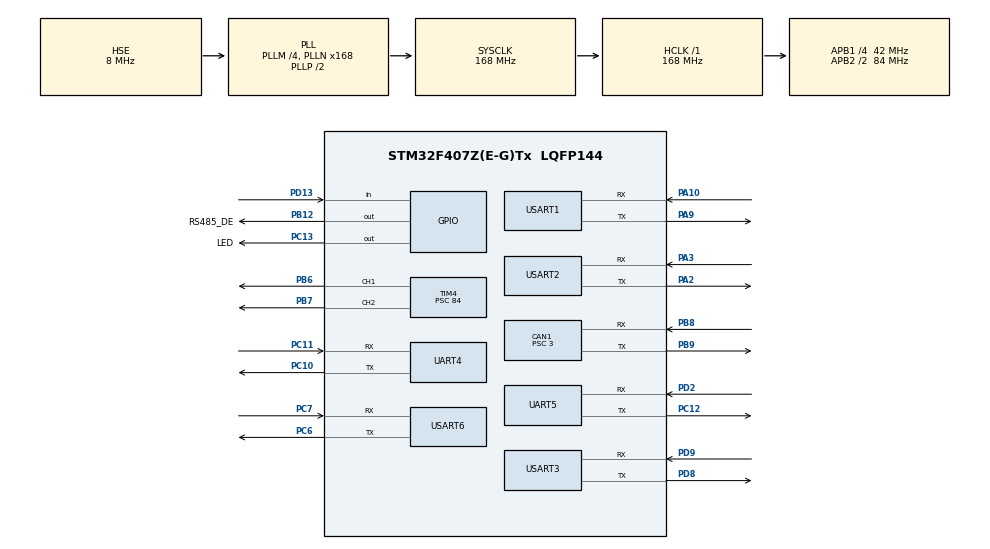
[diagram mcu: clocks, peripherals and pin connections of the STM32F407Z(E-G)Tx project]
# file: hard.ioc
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CAN1.BS1=CAN_BS1_9TQ
CAN1.BS2=CAN_BS2_4TQ
CAN1.CalculateBaudRate=1000000
CAN1.CalculateTimeBit=1000
CAN1.CalculateTimeQuantum=71.42857142857143
CAN1.Prescaler=3
FREERTOS.Tasks01=TaskMotorTx,32,512,MotorTx,Default,NULL,Dynamic,NULL,NULL;TaskMotorRx,33,512,MotorRx,Default,NULL,Dynamic,NULL,NULL;Task,34,768,StartTask,Default,NULL,Dynamic,NULL,NULL;SeeTask,33,512,See,Default,NULL,Dynamic,NULL,NULL;Hwt601Task,32,512,Hwt601Poll,Default,NULL,Dynamic,NULL,NULL;TaskMotorA,32,512,MotorA,Default,NULL,Dynamic,NULL,NULL;TaskMotorB,32,512,MotorB,Default,NULL,Dynamic,NULL,NULL;TaskMotorC,32,512,MotorC,Default,NULL,Dynamic,NULL,NULL;Task6020,40,512,Motor6020,Default,NULL,Dynamic,NULL,NULL
FREERTOS.configTOTAL_HEAP_SIZE=32768 
Mcu.Family=STM32F4
Mcu.Name=STM32F407Z(E-G)Tx
Mcu.Package=LQFP144
NVIC.CAN1_RX0_IRQn=true\:5\:0\:false\:false\:true\:true\:true\:true\:true
NVIC.PriorityGroup=NVIC_PRIORITYGROUP_4
NVIC.TIM1_UP_TIM10_IRQn=true\:15\:0\:false\:false\:true\:false\:false\:true\:true
NVIC.TimeBase=TIM1_UP_TIM10_IRQn
NVIC.TimeBaseIP=TIM1
NVIC.UART4_IRQn=true\:5\:0\:false\:false\:true\:true\:true\:true\:true
NVIC.UART5_IRQn=true\:5\:0\:false\:false\:true\:true\:true\:true\:true
NVIC.USART1_IRQn=true\:5\:0\:false\:false\:true\:true\:true\:true\:true
NVIC.USART2_IRQn=true\:5\:0\:false\:false\:true\:true\:true\:true\:true
NVIC.USART3_IRQn=true\:5\:0\:false\:false\:true\:true\:true\:true\:true
NVIC.USART6_IRQn=true\:5\:0\:false\:false\:true\:true\:true\:true\:true
PA10.Mode=Asynchronous
PA10.Signal=USART1_RX
PA13.Mode=Serial_Wire
PA13.Signal=SYS_JTMS-SWDIO
PA14.Mode=Serial_Wire
PA14.Signal=SYS_JTCK-SWCLK
PA2.Mode=Asynchronous
PA2.Signal=USART2_TX
PA3.Mode=Asynchronous
PA3.Signal=USART2_RX
PA9.Mode=Asynchronous
PA9.Signal=USART1_TX
PB12.GPIO_Label=RS485_DE
PB12.GPIO_PuPd=GPIO_PULLDOWN
PB12.Signal=GPIO_Output
PB6.Signal=S_TIM4_CH1
PB7.Signal=S_TIM4_CH2
PB8.Mode=CAN_Activate
PB8.Signal=CAN1_RX
PB9.Mode=CAN_Activate
PB9.Signal=CAN1_TX
PC10.Mode=Asynchronous
PC10.Signal=UART4_TX
PC11.Mode=Asynchronous
PC11.Signal=UART4_RX
PC12.Mode=Asynchronous
PC12.Signal=UART5_TX
PC13-ANTI_TAMP.GPIO_Label=LED
PC13-ANTI_TAMP.GPIO_PuPd=GPIO_PULLUP
PC13-ANTI_TAMP.Signal=GPIO_Output
PC6.Mode=Asynchronous
PC6.Signal=USART6_TX
PC7.Mode=Asynchronous
PC7.Signal=USART6_RX
PD13.GPIO_PuPd=GPIO_PULLUP
PD13.Signal=GPIO_Input
PD2.Mode=Asynchronous
PD2.Signal=UART5_RX
PD8.Mode=Asynchronous
PD8.Signal=USART3_TX
PD9.GPIO_PuPd=GPIO_NOPULL
PD9.Mode=Asynchronous
PD9.Signal=USART3_RX
PH0-OSC_IN.Mode=HSE-External-Oscillator
PH0-OSC_IN.Signal=RCC_OSC_IN
PH1-OSC_OUT.Mode=HSE-External-Oscillator
PH1-OSC_OUT.Signal=RCC_OSC_OUT
ProjectManager.HeapSize=0x1000
ProjectManager.StackSize=0x1000
ProjectManager.TargetToolchain=MDK-ARM V5.32
RCC.48MHZClocksFreq_Value=48000000
RCC.AHBFreq_Value=168000000
RCC.APB1CLKDivider=RCC_HCLK_DIV4
RCC.APB1Freq_Value=42000000
RCC.APB1TimFreq_Value=84000000
RCC.APB2CLKDivider=RCC_HCLK_DIV2
RCC.APB2Freq_Value=84000000
RCC.APB2TimFreq_Value=168000000
RCC.CortexFreq_Value=168000000
RCC.HCLKFreq_Value=168000000
RCC.HSE_VALUE=8000000
RCC.HSI_VALUE=16000000
RCC.LSE_VALUE=32768
RCC.PLLM=4
RCC.PLLN=168
RCC.PLLQ=7
RCC.PLLSourceVirtual=RCC_PLLSOURCE_HSE
RCC.SYSCLKFreq_VALUE=168000000
RCC.SYSCLKSource=RCC_SYSCLKSOURCE_PLLCLK
RCC.VCOOutputFreq_Value=336000000
SH.S_TIM4_CH1.0=TIM4_CH1,PWM Generation1 CH1
SH.S_TIM4_CH2.0=TIM4_CH2,PWM Generation2 CH2
TIM4.AutoReloadPreload=TIM_AUTORELOAD_PRELOAD_ENABLE
TIM4.Channel-PWM\ Generation1\ CH1=TIM_CHANNEL_1
TIM4.Channel-PWM\ Generation2\ CH2=TIM_CHANNEL_2
TIM4.Period=20000
TIM4.Prescaler=84
UART4.VirtualMode=Asynchronous
UART5.VirtualMode=Asynchronous
USART1.VirtualMode=VM_ASYNC
USART2.VirtualMode=VM_ASYNC
USART3.VirtualMode=VM_ASYNC
USART6.VirtualMode=VM_ASYNC
VP_FREERTOS_VS_CMSIS_V2.Mode=CMSIS_V2
VP_SYS_VS_tim1.Mode=TIM1
VP_TIM4_VS_ClockSourceINT.Mode=Internal
board=custom

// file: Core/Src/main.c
/* USER CODE BEGIN Header */
/* main.c —— 应用入口：外设初始化（CAN1、UART4/5、USART1/2/3/6、TIM4）+ 启动 FreeRTOS。 */
/* USER CODE END Header */
#include "main.h"
#include "cmsis_os.h"
#include "can.h"
#include "tim.h"
#include "usart.h"
#include "gpio.h"

/* USER CODE BEGIN Includes */
#include "zdt_motor.h"
#include "hwt601.h"
#include "stdio.h"
#include "pwm.h"
/* USER CODE END Includes */

/* USER CODE BEGIN PV */

/* ★ 临时测试开关：1 = 检测到 PD13 低电平后只闪 PC13（不往下跑）；0 = 正常运行。
 *   用 volatile 是为了避免 armcc 对下面死循环后的代码报 unreachable 警告。*/
static volatile int s_blink_test = 1;

/* USER CODE END PV */

void SystemClock_Config(void);
void MX_FREERTOS_Init(void);

int main(void)
{

  /* MCU Configuration--------------------------------------------------------*/

  /* Reset of all peripherals, Initializes the Flash interface and the Systick. */
  HAL_Init();

  /* Configure the system clock */
  SystemClock_Config();

  /* Initialize all configured peripherals */
  MX_GPIO_Init();
  MX_CAN1_Init();
  MX_UART4_Init();
  MX_UART5_Init();
  MX_USART1_UART_Init();
  MX_USART2_UART_Init();
  MX_USART3_UART_Init();
  MX_USART6_UART_Init();
  MX_TIM4_Init();
  /* USER CODE BEGIN 2 */
  ZDT_MotorInit();          /* ⚠ 必须调：绑定三条串口并挂单字节中断接收，否则 g_bus[] 里的 huart 是 NULL，发命令跑飞 */
  HWT601_Init();            /* 陀螺仪 USART6（PC6/PC7）：中断收帧；发请求在 Hwt601Poll 任务里 */

  /* 6020 = 地址 1：反馈 StdId 0x205，控制帧是 0x1FF 的槽 1 = DATA[0..1]（6020.c / grab_cfg.h 已写死）。 */
  /* USER CODE END 2 */

  /* Init scheduler */
  osKernelInitialize();  /* Call init function for freertos objects (in cmsis_os2.c) */
  MX_FREERTOS_Init();

  /* Start scheduler */
  osKernelStart();

  /* We should never get here as control is now taken by the scheduler */

  /* Infinite loop */
  while (1)
  {

  }
}

void SystemClock_Config(void)
{
  RCC_OscInitTypeDef RCC_OscInitStruct = {0};
  RCC_ClkInitTypeDef RCC_ClkInitStruct = {0};

  /** Configure the main internal regulator output voltage
  */
  __HAL_RCC_PWR_CLK_ENABLE();
  __HAL_PWR_VOLTAGESCALING_CONFIG(PWR_REGULATOR_VOLTAGE_SCALE1);

  /** Initializes the RCC Oscillators according to the specified parameters
  * in the RCC_OscInitTypeDef structure.
  */
  RCC_OscInitStruct.OscillatorType = RCC_OSCILLATORTYPE_HSE;
  RCC_OscInitStruct.HSEState = RCC_HSE_ON;
  RCC_OscInitStruct.PLL.PLLState = RCC_PLL_ON;
  RCC_OscInitStruct.PLL.PLLSource = RCC_PLLSOURCE_HSE;
  RCC_OscInitStruct.PLL.PLLM = 4;
  RCC_OscInitStruct.PLL.PLLN = 168;
  RCC_OscInitStruct.PLL.PLLP = RCC_PLLP_DIV2;
  RCC_OscInitStruct.PLL.PLLQ = 7;
  if (HAL_RCC_OscConfig(&RCC_OscInitStruct) != HAL_OK)
  {
    Error_Handler();
  }

  /** Initializes the CPU, AHB and APB buses clocks
  */
  RCC_ClkInitStruct.ClockType = RCC_CLOCKTYPE_HCLK|RCC_CLOCKTYPE_SYSCLK
                              |RCC_CLOCKTYPE_PCLK1|RCC_CLOCKTYPE_PCLK2;
  RCC_ClkInitStruct.SYSCLKSource = RCC_SYSCLKSOURCE_PLLCLK;
  RCC_ClkInitStruct.AHBCLKDivider = RCC_SYSCLK_DIV1;
  RCC_ClkInitStruct.APB1CLKDivider = RCC_HCLK_DIV4;
  RCC_ClkInitStruct.APB2CLKDivider = RCC_HCLK_DIV2;

  if (HAL_RCC_ClockConfig(&RCC_ClkInitStruct, FLASH_LATENCY_5) != HAL_OK)
  {
    Error_Handler();
  }
}

void HAL_TIM_PeriodElapsedCallback(TIM_HandleTypeDef *htim)
{
  if (htim->Instance == TIM1)
  {
    HAL_IncTick();
  }
}

void Error_Handler(void)
{
  __disable_irq();
  while (1)
  {
  }
}

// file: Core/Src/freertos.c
/* USER CODE BEGIN Header */
/* freertos.c —— FreeRTOS 任务层：创建 9 个任务，负责底盘 20ms 控制拍、遥测与总线门控。 */
/* USER CODE END Header */

#include "FreeRTOS.h"
#include "task.h"
#include "main.h"
#include "cmsis_os.h"

/* USER CODE BEGIN Includes */
#include "zdt_motor.h"
#include "hwt601.h"
#include "ins.h"
#include "Go.h"
#include "pid.h"
#include "TaskFlow.h"                      /* 顶层任务流程 */
#include "chassis_cfg.h"
#include "grab.h"                          /* 抓取层 */
#include "6020.h"                          /* GM6020 驱动 */
#include "grab_cfg.h"                      /* M6020_CMD_MAX：判输出打满 */
#include "M27.h"                           /* 伸缩 FB / 升降 UD */
#include <stdio.h>
#include <stdlib.h>                        /* atof：串口调参 */
#include "See.h"
#include "pwm.h"
#include "Follow.h"                        /* 路径规划：Follow_SideInit + Follow_RxByte */
#include "../../Test/Go_Test/go_test.h"    /* 台架：Go_Test_Route（GO_TEST_FOLLOWSEQ） */
extern UART_HandleTypeDef huart1;   /* 调试打印口 */
/* USER CODE END Includes */

/* USER CODE BEGIN PD */
/* 速度帧的加减速档直接写 0：不做曲线加减速，直接按设定速度跑（0~255，越大起步越猛）；单轮上限 GO_WHEEL_RPM_MAX 见 chassis_cfg.h。 */

/* 出发边：0 = 左出发（跟踪轴 = 任务 Y），1 = 右出发（跟踪轴 = 任务 X）。改错 ⇒ 整条路线镜像走反。 */
#define follow_side_key     1
const uint8_t g_follow_side_key = (uint8_t)follow_side_key;

/* 1 = 正常走 case 6（对 7/9 做 PD 对准并记录实测值）；0 = 跳过 7/9 的对准。 */
#define case6_key           1
const uint8_t g_case6_key = (uint8_t)case6_key;

/* 是否在第二次的第二轮进行对准 */
#define case11_key          0
const uint8_t g_case11_key = (uint8_t)case11_key;

/* 3(浅蓝)/6(深蓝) 相机分不稳：1 = 扫码时两者没同时出现就视为同一颜色；0 = 永远严格区分。 */
#define blue_merge_key      1
const uint8_t g_blue_merge_key = (uint8_t)blue_merge_key;

/* 放料盘高度 cm（实测值，初始 8）。抓取时 UD 的目标高度 = 5.15 - (high - 8)：
 *   盘高 8 ⇒ 5.15（当前基准值）；盘高 9 ⇒ 4.15。Grab.c case 3-0 那两句 MoveCm 的 ud_cm 用。*/
#define high                8.25f
const float   g_high = (float)high;

/* 5s 周期行的总闸：1 = 每 5s 打一遍三块料的抓取判定 6 帧颜色（例 …|000000|000000|000000）；三块都抓完（s_log_done）后自动停，不打扰抓取阶段的日志。 */
#define TELEM_PERIODIC_EN   1
/* 详细诊断行总开关（2026-10-31 改）：0 = 串口**只打两行** Q,<已锁定>,<料1>,<料2>,<料3>,<环1>,<环2>,<环3> C,7算6020,7算M2,7实测6020,7实测M2,
 * 8算…,8实测…, 9算…,9实测… 1 = 恢复原来的 Z/K/S/P 四行 +
 * 每 5s 的标定/颜色汇总行。 */
#define TELEM_VERBOSE_EN    0

/* 台架开关：1 = 上电发 0-1 之后**只跑** Go_Test_FollowSeq()（Follow_Set 里灌的三条模拟路线）， 跑完原地停住；TaskFlow / 手臂一律不参与。测完改回 0 就是正常比赛流程。
 * 打开时请把车架空或留足场地：三条路线是 1/3/13/23 号格之间的真实跑位。 */
#define GO_TEST_FOLLOWSEQ   0

/* 单独测试抓取：1 = 跳过前段（case -1 的路线/扫码/去 15 号格、case 0 的任务2），
 * 直接进 case 1「巡逻 → 跟踪 → 抓取」，三块抓完就停下（底盘进 case 10 GO_Stop、手臂摆收工位待命）。
 * ⚠ 颜色目标要自己灌：把下面正常分支里那行注释掉的 Set(...) 取消注释并填三块颜色 + 三个环号，
 *   否则 qr_c0[0] = 0 ⇒ 手臂永远扫不到料（case 0 会打印 cam_target_id = 0）。
 * ⚠ 只在 GO_TEST_FOLLOWSEQ = 0（正常分支）里生效。 0 = 正常全流程。*/
#define grab0               0
const uint8_t g_grab0 = (uint8_t)grab0;

/* 接线体检：1 = 每秒打 T,ANG / T,AGE / T,LIVE 三行，专门查断线、没应答、CAN/串口不通。
 *   T,ANG  = 6 个步进电机的多圈角度 + 6020 关节角 + 陀螺仪 yaw
 *   T,AGE  = 6 个步进电机"距上次应答多少 ms"（一直涨 = 那根线/地址有问题）
 *   T,LIVE = 6020 累计反馈帧数（不涨 = CAN 线/ID）+ 陀螺仪收到过好帧(0/1)
 * 调试用，正常比赛保持 0。*/
#define test                0

/* 基准判定总开关：1 = 完整判定（M2<10：定基准即抓；M2≥10：记历次最小值，退回来 2cm 才抓）；
 * 0 = 直接抓（基准恒 0、进度置"已定" ⇒ 判停成立就抓）。改动需重编译。*/
#define base_en             0
const uint8_t g_base_en = (uint8_t)base_en;

/* USER CODE END PD */

/* USER CODE BEGIN Variables */
/* 4 轮目标转速 rpm[4]：MotorTx 写、MotorA/B 读；正 = 该轮朝前进方向转（WHEEL_DIR 校正后的符号）。 轮序 0..3 = 右后(轴1,总线A) / 左前(轴6,总线B) / 右前(轴3,总线B) / 左后(轴4,总线A)。 */
static volatile float s_tgt_rpm[4] = {0.0f};

/* 里程计状态（ins 模块）；位姿全工程只有这一份，Go 借它的指针（GO_Init(&s_ins)）。 */
static InsState_t s_ins;

/* 四轮编码器差分基准（放文件级是为了让 Motion_Home() 能清零；只清电机侧会出假尖峰）。 */
static float s_prev_angle[4] = {0, 0, 0, 0};   /* 上周期角度，差分算 rpm */
static float s_rpm_lp[4]     = {0, 0, 0, 0};   /* rpm 一阶低通（消差分噪声） */

/* wheel[] 下标 → 实际电机轴号（实测接线）：0=轴1右后 / 1=轴6左前 / 2=轴3右前 / 3=轴4左后。 ⚠ 底盘没有轴 2、5、7（轴 2 = 手臂前后、轴 7 = 手臂上下）：取错轴会让 wheel[1] 恒 0，vx/vy 全错。 */
static const uint8_t s_wheel_axis[4] = { 1, 6, 3, 4 };

/* ★ 临时（验证收发用）：1 = 收齐 8 段路线后就停住不跑流程；验证完改 0 就恢复正常。
 * ⚠ 放在 USER CODE 区里：CubeMX 重新生成只保留 USER CODE BEGIN/END 之间的内容。*/
static volatile int s_route_halt = 1;

/* USER CODE END Variables */
/* Definitions for TaskMotorTx */
osThreadId_t TaskMotorTxHandle;
const osThreadAttr_t TaskMotorTx_attributes = {
  .name = "TaskMotorTx",
  .stack_size = 512 * 4,
  .priority = (osPriority_t) osPriorityAboveNormal,
};
/* Definitions for TaskMotorRx */
osThreadId_t TaskMotorRxHandle;
const osThreadAttr_t TaskMotorRx_attributes = {
  .name = "TaskMotorRx",
  .stack_size = 512 * 4,
  .priority = (osPriority_t) osPriorityAboveNormal1,
};
/* Definitions for Task */
osThreadId_t TaskHandle;
const osThreadAttr_t Task_attributes = {
  .name = "Task",
  .stack_size = 768 * 4,
  .priority = (osPriority_t) osPriorityAboveNormal2,
};
/* Definitions for SeeTask */
osThreadId_t SeeTaskHandle;
const osThreadAttr_t SeeTask_attributes = {
  .name = "SeeTask",
  .stack_size = 512 * 4,
  .priority = (osPriority_t) osPriorityAboveNormal1,
};
/* Definitions for Hwt601Task */
osThreadId_t Hwt601TaskHandle;
const osThreadAttr_t Hwt601Task_attributes = {
  .name = "Hwt601Task",
  .stack_size = 512 * 4,
  .priority = (osPriority_t) osPriorityAboveNormal,
};
/* Definitions for TaskMotorA */
osThreadId_t TaskMotorAHandle;
const osThreadAttr_t TaskMotorA_attributes = {
  .name = "TaskMotorA",
  .stack_size = 512 * 4,
  .priority = (osPriority_t) osPriorityAboveNormal,
};
/* Definitions for TaskMotorB */
osThreadId_t TaskMotorBHandle;
const osThreadAttr_t TaskMotorB_attributes = {
  .name = "TaskMotorB",
  .stack_size = 512 * 4,
  .priority = (osPriority_t) osPriorityAboveNormal,
};
/* Definitions for TaskMotorC */
osThreadId_t TaskMotorCHandle;
const osThreadAttr_t TaskMotorC_attributes = {
  .name = "TaskMotorC",
  .stack_size = 512 * 4,
  .priority = (osPriority_t) osPriorityAboveNormal,
};
/* Definitions for Task6020 */
osThreadId_t Task6020Handle;
const osThreadAttr_t Task6020_attributes = {
  .name = "Task6020",
  .stack_size = 512 * 4,
  .priority = (osPriority_t) osPriorityHigh,
};

/* USER CODE BEGIN FunctionPrototypes */

void Motion_PreInit(void);

/* USART1 发送：不用 HAL_UART_Transmit，避免它占住 huart1 的锁，导致 RX 回调里
 *   HAL_UART_Receive_IT 返回 BUSY、接收停掉。只轮询 TXE/TC，不碰中断配置。
 * 定义放在 USER CODE 区里（原来在区外，CubeMX 重新生成时被清掉了）。*/
static void uart1_send(const char *s, uint16_t n)
{
  uint16_t i;
  uint32_t t0 = HAL_GetTick();

  for (i = 0; i < n; i++) {
    while ((huart1.Instance->SR & USART_SR_TXE) == 0) {
      if ((HAL_GetTick() - t0) > 20) return;
    }
    huart1.Instance->DR = (uint8_t)s[i];
  }
  while ((huart1.Instance->SR & USART_SR_TC) == 0) {
    if ((HAL_GetTick() - t0) > 20) return;
  }
}

/* USER CODE END FunctionPrototypes */

void MotorTx(void *argument);
void MotorRx(void *argument);
void StartTask(void *argument);
void See(void *argument);
void Hwt601Poll(void *argument);
void MotorA(void *argument);
void MotorB(void *argument);
void MotorC(void *argument);
void Motor6020(void *argument);

void MX_FREERTOS_Init(void); /* (MISRA C 2004 rule 8.1) */

void MX_FREERTOS_Init(void) {
  /* USER CODE BEGIN Init */
  Motion_PreInit();
  /* USER CODE END Init */

  /* Create the thread(s) */
  /* creation of TaskMotorTx */
  TaskMotorTxHandle = osThreadNew(MotorTx, NULL, &TaskMotorTx_attributes);

  /* creation of TaskMotorRx */
  TaskMotorRxHandle = osThreadNew(MotorRx, NULL, &TaskMotorRx_attributes);

  /* creation of Task */
  TaskHandle = osThreadNew(StartTask, NULL, &Task_attributes);

  /* creation of SeeTask */
  SeeTaskHandle = osThreadNew(See, NULL, &SeeTask_attributes);

  /* creation of Hwt601Task */
  Hwt601TaskHandle = osThreadNew(Hwt601Poll, NULL, &Hwt601Task_attributes);

  /* creation of TaskMotorA */
  TaskMotorAHandle = osThreadNew(MotorA, NULL, &TaskMotorA_attributes);

  /* creation of TaskMotorB */
  TaskMotorBHandle = osThreadNew(MotorB, NULL, &TaskMotorB_attributes);

  /* creation of TaskMotorC */
  TaskMotorCHandle = osThreadNew(MotorC, NULL, &TaskMotorC_attributes);

  /* creation of Task6020 */
  Task6020Handle = osThreadNew(Motor6020, NULL, &Task6020_attributes);

}

void MotorTx(void *argument)
{
  /* USER CODE BEGIN MotorTx */
  /* 底盘控制任务（20ms）：读反馈 → INS 推算 → Go 控制 → 写 s_tgt_rpm[4]；上层 StartTask 通过 GO 投递目标。 本任务不做串口发送：一行 85B 阻塞 ≈7.4ms，占 20ms 周期的 37%，打印全交给 MotorRx。 */
  const TickType_t period_tick = pdMS_TO_TICKS(20);
  TickType_t last_wake = xTaskGetTickCount();
  const float dt = CTRL_DT_S;      /* 控制周期，唯一出处见 chassis_cfg.h */
  /* 兜底上限（正常永远碰不到）：超过 2× 满速的单拍转角只可能是毛刺或驱动器复位。 真正的"上电首帧突变"已由下面的"每轴等真帧再建基准"从源头解决，这里只挡意外。 */
  const float max_step = GO_WHEEL_RPM_MAX * 6.0f * dt * 2.0f;

  static uint8_t s_base_ok[4] = {0};   /* 每轴：差分基准是否已用**真角度**建立 */
  InsInput_t in;
  float rpm_raw[4];                /* 本拍差分 rpm（低通前），用于算平滑后的反馈 */

  /* 装反的轮取反，见 chassis_cfg.h */
  static const float wdir[4] = { WHEEL_DIR0, WHEEL_DIR1, WHEEL_DIR2, WHEEL_DIR3 };

  for(;;)
  {
    int i;

    /* 角度差分 → rpm（一阶低通，α 越小越平滑） ⚠ 基准必须用**真角度**建：多圈角在第一次应答前恒为 0，拿它对 0 求差会造出"0→真值"的巨跳 （几千度 ⇒ 十万 rpm 级 ⇒ 米级假位移）。
     * 所以每轴单独等 ZDT_HasAngle()，第一次拿到真值的 那一拍只建基准、出 0，下一拍才开始差分。 某轴始终不应答 ⇒ 只有那一路恒 0（退化），其余三轮照常、车继续跑。 */
    for (i = 0; i < 4; i++) {
      int ax    = s_wheel_axis[i];
      float   a_now = zdt_angle[ax];

      if (!s_base_ok[i]) {
        if (ZDT_HasAngle(ax)) {
          s_prev_angle[i] = a_now;
          s_base_ok[i]    = 1;
        }
        rpm_raw[i] = 0.0f;
      } else {
        float deg = a_now - s_prev_angle[i];
        if (deg > max_step || deg < -max_step) deg = 0.0f;  /* 毛刺/驱动器复位：弃用本拍，基准照常刷新 */
        rpm_raw[i] = wdir[i] * (deg / dt) / 6.0f;   /* °/s /6 = rpm（未低通） */
        s_prev_angle[i] = a_now;
      }
      s_rpm_lp[i] = 0.35f * rpm_raw[i] + 0.65f * s_rpm_lp[i];
      in.wheel_rpm[i] = s_rpm_lp[i];
    }

    in.imu_yaw   = HWT601_GetYaw();

    INS_Update(&s_ins, &in);

    /* GO：装载投递的目标 + 出四轮转速（状态写都在本任务，单写者） 0-1 之前不跑 GO：否则 Motion_Home 锁的 yaw0 与当前 IMU 有差时，车会在启动前自己转。 */
    float rpm_out[4];
    GO_ControlCycle(rpm_out);

    for (i = 0; i < 4; i++) {
      s_tgt_rpm[i]  = rpm_out[i];
    }

    vTaskDelayUntil(&last_wake, period_tick);
  }
  /* USER CODE END MotorTx */
}

void MotorRx(void *argument)
{
  /* USER CODE BEGIN MotorRx */
  const TickType_t period_tick = pdMS_TO_TICKS(CTRL_DT_MS);
  TickType_t last_wake = xTaskGetTickCount();
  static uint32_t last_chk_t = 0;     /* 抓取判定 6 帧打印：每 5s */
  static int  s_log_done = 0;     /* 1 = 周期行已停发（锁存）*/
  static int  s_log_summary = 0;  /* 1 = 停发前补打一行 5s 总结 */
  for(;;)
  {
    char b[256];
    char cmd[24];
    int  n;

    /* 1) 串口命令 编号-数值（如 1-3）：换行或 50ms 静默结束，回 OK/ERR；编号含义见下面 case。
     * 其余调参项已删，用宏默认值。 */
    if (Grab6020_CmdPoll(cmd, sizeof(cmd))) {
      int idx = 0;
      int p = 0;
      float val;

      while (cmd[p] >= '0' && cmd[p] <= '9') {
        if (idx < 1000) idx = idx * 10 + (cmd[p] - '0');   /* 饱和，避免长数字溢出 */
        p++;
      }
      /* 必须至少有一位前导数字：否则 "-1" 会被解析成"0 号命令 val=1" ⇒ 行驶中被一条杂散行开车/停车 */
      if (p > 0 && idx <= 5 && cmd[p] == '-' &&
          (cmd[p + 1] == '.' || (cmd[p + 1] >= '0' && cmd[p + 1] <= '9'))) {
        val = (float)atof(&cmd[p + 1]);

        switch (idx) {

        case 1:  val = TaskFlow_SetSign(1, val); break;   /* case2 底盘 X */
        case 2:  val = Grab_SetSign(1, val);     break;   /* case2 的 M2  */
        case 3:  val = TaskFlow_SetSign(2, val); break;   /* case5 第一轮底盘 */
        case 4:  val = Grab_SetSign(2, val);     break;   /* case5 的 M2（两轮）*/
        case 5:  val = TaskFlow_SetSign(3, val); break;   /* case5 第二轮底盘 */
        default: break;
        }
        n = snprintf(b, sizeof(b), "OK %d=%.3f\r\n", idx, (double)val);
      } else {
        n = snprintf(b, sizeof(b), "ERR\r\n");
      }
      if (n > (int)sizeof(b) - 1) n = (int)sizeof(b) - 1;
      if (n > 0) uart1_send(b, (uint16_t)n);
    }

    if (grab_log_done != 0) {
      if (!s_log_done) { s_log_done = 1; s_log_summary = 1; }
    } else {
      s_log_done = 0;
    }

    /* 每 1000ms 一行：C,… 标定对照（原来的 Q 行已随 Z 行一起删掉，代码里不再打印）*/
    {
      static uint32_t last_qr_t = 0;

      if ((TELEM_VERBOSE_EN != 0) && ((HAL_GetTick() - last_qr_t) >= 1000)) {          /* Q/C 两行的打印周期（ms）*/
        last_qr_t = HAL_GetTick();

        /* ② 标定对照 C：每环两列 ——「算」= 按 θ/M2₈ 现算的目标，「实测」= 标定 PD 完成时记下的值 ⇒ 两列相减就是几何公式与实际偏了多少；case 6 没跑过时这些列都是 0。 */
        {
          double th  = (double)grab_k6_th;          /* θ = atan(15 / (c+M2₈)) */

          n = snprintf(b, sizeof(b),
                       "C,%.2f,%.2f,%.2f,%.2f,%.2f,%.2f,%.2f,%.2f,%.2f,%.2f,%.2f,%.2f\r\n",
                       90.0 + th + (double)K6_D7_ANG_DEG, (double)Grab_K6M2Of(7),   /* 7 号算（含偏置）*/
                       (double)Grab_CalAng(0), (double)Grab_CalM5(0),      /* 7 号实测 */
                       90.0,                   (double)Grab_CalM5(1),      /* 8 号算 */
                       (double)Grab_CalAng(1), (double)Grab_CalM5(1),      /* 8 号实测 */
                       90.0 - th + (double)K6_D9_ANG_DEG, (double)Grab_K6M2Of(9),   /* 9 号算（含偏置）*/
                       (double)Grab_CalAng(2), (double)Grab_CalM5(2));     /* 9 号实测 */
          if (n > 0 && n < (int)sizeof(b)) uart1_send(b, (uint16_t)n);
        }

        /* 详细诊断三行（K/S/P）：TELEM_VERBOSE_EN=0 时一律不打。 */
        if (TELEM_VERBOSE_EN) {

          /* K,θ,斜边,M2₈记录值,M2当前值 —— 判断"算得对不对 / 反馈有没有上来"： M2₈=0 且 M2 当前=0 ⇒ 编码器/总线没回；M2₈=0 但当前有值 ⇒ 记录那一刻是 0（时序）。 */
          n = snprintf(b, sizeof(b), "K,%.1f,%.2f,%.2f,%.2f\r\n",
                       (double)grab_k6_th, (double)grab_k6_m2,
                       (double)Grab_CalM5(1), (double)cm_2);
          if (n > 0 && n < (int)sizeof(b)) uart1_send(b, (uint16_t)n);

          /* S,目标色,当前看见的颜色,cx,cy,环号,环cx,环cy */
          n = snprintf(b, sizeof(b), "S,%d,%d,%d,%d,%d,%d,%d\r\n",
                       (int)cam_target_id, (int)cam_color,
                       (int)cam_cx, (int)cam_cy,
                       (int)cam_ring_no, (int)cam_ring_cx, (int)cam_ring_cy);
          if (n > 0 && n < (int)sizeof(b)) uart1_send(b, (uint16_t)n);

          /* P 行：每秒打**一段路线**（任务 1→2→…→8 循环）
           *   P,<任务号>,<对数>,<格1>,<角1>,<格2>,<角2>…
           *   例：P,1,2,5,0,15,-90  = 任务 1有 2 对：5 号格不转 → 15 号格转 -90°*/
          {
            static int s_rt_i = 1;          /* 下一秒打哪一段 */
            int nt = path_n[s_rt_i];
            int k;
            int     q;

            q = snprintf(b, sizeof(b), "P,%u,%u", (unsigned)s_rt_i, (unsigned)nt);
            for (k = 1; (k <= nt) && (k <= FOLLOW_CELL_MAX); k++) {
              if (q >= (int)sizeof(b) - 16) break;
              q += snprintf(b + q, sizeof(b) - (size_t)q, ",%u,%d",
                            (unsigned)path[s_rt_i][k], (int)ang[s_rt_i][k]);
            }
            if ((q > 0) && (q < (int)sizeof(b) - 2)) {
              b[q++] = '\r'; b[q++] = '\n';
              uart1_send(b, (uint16_t)q);
            }
            s_rt_i = (uint8_t)((s_rt_i >= 8) ? 1 : (s_rt_i + 1));
          }

        }
      }
    }

    /* test = 1：每秒一行"接线体检" X,… —— 6 个步进电机的角度 + 6020 关节角 + 陀螺仪 yaw。
     * （前缀用 X 而不是 T：T 已被台架的 Go_Test_StraightThenSideRun 占用）
     * 轴顺序：轴1(底盘右后) 轴6(左前) 轴3(右前) 轴4(左后) 轴2(手臂伸缩) 轴7(手臂升降)。
     * 用手掰某根轴 / 掰 6020：数值跟着变 = 反馈正常；一直不动 = 那根的线、ID 或供电有问题。*/
    if (test != 0) {
      static uint32_t last_test_t = 0;

      if ((HAL_GetTick() - last_test_t) >= 1000) {
        last_test_t = HAL_GetTick();
        n = snprintf(b, sizeof(b), "X,%.1f,%.1f,%.1f,%.1f,%.1f,%.1f,%.1f,%.1f\r\n",
                     (double)zdt_angle[1], (double)zdt_angle[6],
                     (double)zdt_angle[3], (double)zdt_angle[4],
                     (double)zdt_angle[2], (double)zdt_angle[7],
                     (double)Grab6020_GetAngle(), (double)HWT601_GetYaw());
        if (n > 0 && n < (int)sizeof(b)) uart1_send(b, (uint16_t)n);
      }
    }

    if (TELEM_PERIODIC_EN &&
        (s_log_summary || ((HAL_GetTick() - last_chk_t) >= 5000))) {
      char    s[24];
      int m, i, p = 0;

      last_chk_t = HAL_GetTick();
      s_log_summary = 0;
      for (m = 0; m < GRAB_ROUNDS; m++) {
        for (i = 0; i < 6; i++) {
          int v = Grab_ChkFrame(m, i);
          s[p++] = (v <= 9) ? (char)('0' + v) : '?';
        }
        if (m + 1 < GRAB_ROUNDS) s[p++] = '|';
      }
      s[p] = '\0';
      /* 每 5s 只打**抓取判定颜色帧**：V,<第1块6帧>|<第2块6帧>|<第3块6帧> 例 V,111111|000000|000000 = 第 1 块抬爪后 6 帧都是色 1（判成功）， 第 2/3 块还没抓
       * ⇒ 全 0。标定/实测对照已挪到每秒的 C 行，这里不再重复。 */
      n = snprintf(b, sizeof(b), "V,%s\r\n", s);
      if (n > 0) uart1_send(b, (uint16_t)n);
    }

    vTaskDelayUntil(&last_wake, period_tick);
  }
  /* USER CODE END MotorRx */
}

void StartTask(void *argument)
{
  /* USER CODE BEGIN StartTask */

	/* 上电回零 */
	Gripper_Close();
	osDelay(1000);
	M27_Home();
	osDelay(5000);
	/* 恢复初始位姿 */
	MoveCm(200.0f, 0.0f, -1, 900, 100, 0.0f, 900, 100);   /* M2 原地不动：PD13 之前手臂不伸 */
	uint32_t t0 = HAL_GetTick();
	while ((!M27_Arrived() || !Grab6020_Arrived_Big()) && (HAL_GetTick() - t0) < 5000)
	{osDelay(20);}
	/* 一键启动：PD13 */
	while (HAL_GPIO_ReadPin(GPIOD, GPIO_PIN_13) == GPIO_PIN_SET)
	{osDelay(CTRL_DT_MS);}

//  {
//    uint32_t t_led = HAL_GetTick();

//    while (s_route_halt != 0) {                 /* 跑完不进入正常全流程，停在这里 */
//      /* 停在这儿的时候闪灯（500ms 翻转一次）：一眼看出程序还活着，只是被这个闸门停住了。 */
//      if ((HAL_GetTick() - t_led) >= 500) {
//        t_led = HAL_GetTick();
//        HAL_GPIO_TogglePin(LED_GPIO_Port, LED_Pin);
//      }
//      osDelay(CTRL_DT_MS);
//    }
//    HAL_GPIO_WritePin(LED_GPIO_Port, LED_Pin, GPIO_PIN_RESET);   /* 真放行了就把灯灭掉 */
//  }

  TaskFlow_Init();      /* 归零后重新清一遍流程内部状态 */
  TaskFlow_Ready();		/* 死等 Motion_Home 成功（归零 + 锁航向 + 对齐四轮基准）→ 拨到 case -1 */
  /* 上位机路线握手：
   *   ① 按 follow_side_key 发 3 个字节给上位机：0 → '#2*'（左），1 → '#1*'（右）；
   *   ② 进 while 等上位机把路线发进来；**8 段（任务 1..8）全到齐**才往下走。*/
  See_SendSide(follow_side_key);
  while (!See_RouteReceived()) {
    osDelay(CTRL_DT_MS);
  }
  See_PreFlowDone();                             /* 路线到手：恢复相机/扫码解析 */

#if (GO_TEST_FOLLOWSEQ != 0)
  /* ⚠ 这一段是台架专用：跑完就死循环停住，下面的正常流程不会执行（用 #else 隔开避免 "unreachable" 警告）*/
  /* ===== 台架：只跑**上位机发来的路线**（不碰相机、不碰手臂）===== ① 等上位机把 @任务+格号(角)+…% 发进来（最多 30s） ② 收到后把表打一遍（R,…），确认解析 ③ 依次跑有数据的任务号，跑的时候每 1 秒打一行 F,…，跑完 F,DONE */
	Go_Test_GoToPreRun();
	for (;;) {
		GO_Stop();                     /* 目标冻在当前位姿：控制周期出零 */
		osDelay(200);
	}
#else   /* GO_TEST_FOLLOWSEQ == 0：正常比赛流程 */
  /* 先只放底盘跑 case -1（路线 + 二维码 + 去 15 号格）；它跑完会 grab_gate=1 放手臂 */
  if (g_grab0 != 0) {
      /* 单独测抓取：底盘先不放行（tf_gate = 0），等手臂 case 0 摆好位由它置 tf_gate = 1；
       * 手臂立刻放行。之后底盘直接从 case 1 巡逻开始跑。*/
      tf_gate   = 0;
      grab_gate = 1;
  } else {
      tf_gate   = 1;
      grab_gate = 0;
  }
  Grab_Start();

  /* Set(2, 3, 1, 1, 3, 2, 3, 2, 1, 3, 2, 1); */

    TickType_t last_wake = xTaskGetTickCount();

    for (;;)
    {
      TaskFlow_Update();          /* 底盘：case -1 路线/二维码/去 15 号格 → 0 → 1 找料 → 2 跟踪 → 3 抓取 → 4 放置 */
      GRAB_Update();              /* 手臂：case 0 摆位 → 1 扫描 → 2 跟踪 → 3 抓取；三块后停 40 */
      vTaskDelayUntil(&last_wake, pdMS_TO_TICKS(CTRL_DT_MS));
    }

#endif  /* GO_TEST_FOLLOWSEQ */
  /* USER CODE END StartTask */
}

/* USER CODE BEGIN Header_See */
/* * @brief Function implementing the SeeTask thread. @param argument: Not used @retval None */
/* USER CODE END Header_See */
void See(void *argument)
{
  /* USER CODE BEGIN See */
  (void)argument;

  for(;;)
  {
    See_WaitFrame(osWaitForever);   /* 等一帧（队列空就一直阻塞） */
    See_ParseFrame();               /* 解析它，填 cam_* / qr_* */
  }
  /* USER CODE END See */
}

void Hwt601Poll(void *argument)
{
  /* USER CODE BEGIN Hwt601Poll */
  /* HWT601 周期轮询（Modbus 读数），周期 = HWT601_POLL_PERIOD_MS；这是 IMU 唯一数据来源，注掉它 Yaw 就是死的（与 MotorA/B 同为 10ms、同级 40 抢 CPU）。 */
  const TickType_t period_tick = pdMS_TO_TICKS(HWT601_POLL_PERIOD_MS);
  TickType_t last_wake = xTaskGetTickCount();
  for(;;)
  {
    HWT601_Poll();

    vTaskDelayUntil(&last_wake, period_tick);
  }
  /* USER CODE END Hwt601Poll */
}

void MotorA(void *argument)
{
  /* USER CODE BEGIN MotorA */
  /* 总线 A = USART2：1 号(右后)、4 号(左后)。轴 2 不在这条总线上，读到的是手臂前后电机。 */
  const TickType_t period_tick = pdMS_TO_TICKS(10);
  TickType_t last_wake = xTaskGetTickCount();

  for(;;)
  {
    ZDT_Poll();

    ZDT_ReadPos(1);
    osDelay(3);
    ZDT_ReadPos(4);
    osDelay(3);

    ZDT_UpdateAngle(1);
    ZDT_UpdateAngle(4);

    /* 这里**不再**判 ZDT_AngleFresh：丢帧时 zdt_angle 保持旧值 ⇒ Δθ=0 ⇒ 轮速自然衰减到 0， 速度命令照常下发，车不会急停。总线真掉线只会让这一路轮速停在旧值，由人从遥测判断。
     * （原先是连续丢 4 帧就发 Stop 帧 + 把 valid 拉低 ⇒ 比赛中一次总线抖动四轮同时归零。） */

    /* 1 号 = wheel[0] 右后：前进 = dir 1（实测 dir1 时角度减小）*/
    {
      float   rpm = s_tgt_rpm[0];
      int dir = (rpm > 0.0f) ? 1 : 0;
      float   spf = (rpm < 0.0f) ? -rpm : rpm;
      uint16_t sp = (spf > GO_WHEEL_RPM_MAX) ? (uint16_t)GO_WHEEL_RPM_MAX : (uint16_t)(spf + 0.5f);  /* 四舍五入：截断会把 <1rpm 的末段推力吃成 0，0.05cm 死区就永远到不了 */
      ZDT_MMCL_AddSpeed(ZDT_BUS_A, 1, dir, sp, 0);
    }
    /* 4 号 = wheel[3] 左后：前进 = dir 0（实测 dir0 时角度增大）*/
    {
      float   rpm = s_tgt_rpm[3];
      int dir = (rpm > 0.0f) ? 0 : 1;
      float   spf = (rpm < 0.0f) ? -rpm : rpm;
      uint16_t sp = (spf > GO_WHEEL_RPM_MAX) ? (uint16_t)GO_WHEEL_RPM_MAX : (uint16_t)(spf + 0.5f);  /* 四舍五入，同上 */
      ZDT_MMCL_AddSpeed(ZDT_BUS_A, 4, dir, sp, 0);
    }
    ZDT_MMCL_Send(ZDT_BUS_A);

    vTaskDelayUntil(&last_wake, period_tick);
  }
  /* USER CODE END MotorA */
}

void MotorB(void *argument)
{
  /* USER CODE BEGIN MotorB */
  /* 总线 B = UART4：3 号(右前)、6 号(左前)。6 号是底盘左前轮，不是手臂升降 UD。 */
  const TickType_t period_tick = pdMS_TO_TICKS(10);
  TickType_t last_wake = xTaskGetTickCount();

  for(;;)
  {
    ZDT_Poll();

    ZDT_ReadPos(3);
    osDelay(2);
    ZDT_ReadPos(6);
    osDelay(2);

    ZDT_UpdateAngle(3);
    ZDT_UpdateAngle(6);

    /* 同上：不判新鲜度，丢帧只让这一路轮速衰减，命令照发、不停车。 */

    /* 3 号 = wheel[2] 右前：前进 = dir 1（实测 dir1 时角度减小）*/
    {
      float   rpm = s_tgt_rpm[2];
      int dir = (rpm > 0.0f) ? 1 : 0;
      float   spf = (rpm < 0.0f) ? -rpm : rpm;
      uint16_t sp = (spf > GO_WHEEL_RPM_MAX) ? (uint16_t)GO_WHEEL_RPM_MAX : (uint16_t)(spf + 0.5f);  /* 四舍五入：截断会把 <1rpm 的末段推力吃成 0，0.05cm 死区就永远到不了 */
      ZDT_MMCL_AddSpeed(ZDT_BUS_B, 3, dir, sp, 0);
    }
    /* 6 号 = wheel[1] 左前：前进 = dir 0（实测 dir0 时角度增大）*/
    {
      float   rpm = s_tgt_rpm[1];
      int dir = (rpm > 0.0f) ? 0 : 1;
      float   spf = (rpm < 0.0f) ? -rpm : rpm;
      uint16_t sp = (spf > GO_WHEEL_RPM_MAX) ? (uint16_t)GO_WHEEL_RPM_MAX : (uint16_t)(spf + 0.5f);  /* 四舍五入，同上 */
      ZDT_MMCL_AddSpeed(ZDT_BUS_B, 6, dir, sp, 0);
    }
    ZDT_MMCL_Send(ZDT_BUS_B);

    vTaskDelayUntil(&last_wake, period_tick);
  }
  /* USER CODE END MotorB */
}

void MotorC(void *argument)
{
  /* USER CODE BEGIN MotorC */
  /* 总线 C = UART5：手臂伸缩 = 电机2、升降 = 电机7。节拍参考 MotorA：读 2 → 3ms → 读 7 → 3ms， 再刷新角度/换算 cm 并写帧（2 → 5ms → 7），留余量避免和第 7 号的应答在半双工总线上撞车。 */
  const TickType_t period_tick = pdMS_TO_TICKS(20);
  TickType_t last_wake = xTaskGetTickCount();

  for(;;)
  {
    ZDT_Poll();

    ZDT_ReadPos(2);
    osDelay(3);
    ZDT_ReadPos(7);
    osDelay(3);                          /* 等 7 号应答上来再换算角度 */

    ZDT_UpdateAngle(2);
    ZDT_UpdateAngle(7);

    M27_Update();                        /* 刷新 cm + 到位判定 */
    M27_Send();                          /* 有新目标才发：电机2 帧 → 10ms → 电机7 帧 */

    vTaskDelayUntil(&last_wake, period_tick);
  }
  /* USER CODE END MotorC */
}

/* USER CODE BEGIN Header_Motor6020 */
/* * @brief Function implementing the Task6020 thread. @param argument: Not used @retval None */
/* USER CODE END Header_Motor6020 */
void Motor6020(void *argument)
{
  /* USER CODE BEGIN Motor6020 */
  /* 6020 双环 5ms 一拍：反馈 1kHz，这里每 5 帧取一帧。 改这一拍必须同步改 grab_cfg.h 的折算：积分/斜率/步长都是“每拍”量。 */
  const TickType_t period_tick = pdMS_TO_TICKS(5);
  TickType_t last_wake = xTaskGetTickCount();

  for(;;)
  {
    Grab6020_Update();

    vTaskDelayUntil(&last_wake, period_tick);
  }
  /* USER CODE END Motor6020 */
}

/* USER CODE BEGIN Application */

/* 底盘归零 + 锁基准（开跑前一次）：位置归零在 INS_ZeroPos、锁航向在 GO_Home()、四轮差分基准由 GO_OdomBaseReset() 对齐。 返回 1=成功、0=IMU 一帧都还没来过。
 * 全工程唯一问"数据来没来"的地方，只在起步这一刻问一次； 不放在控制回路里，否则就成了"掉线即停车"。 */
uint8_t Motion_Home(void)
{
    if (!HWT601_HasFrame()) return 0;         /* 一次都没收到过：不能拿哨兵 yaw=0 去锁航向基准 */
    INS_ZeroPos(&s_ins);                     /* 里程计位置归零 */
    return GO_Home();                        /* 锁基准 + 对齐四轮差分基准 */
}

/* 第二次归零：只清 XY，航向基准不动。起点摆位后调用。 */
uint8_t Motion_ZeroXY(void)
{
    if (!HWT601_HasFrame()) return 0;
    INS_ZeroPos(&s_ins);                     /* 只清位置/速度，不改 yaw */
    GO_ZeroXY();                             /* 只清目标 XY，不动 yaw0/tar_yaw */
    return 1;
}

/* 由 GO_Home() 回调：把四轮差分基准"对齐"到当前角度（清 0 会造出一拍假速度尖峰，被 INS 积分成假位移），须与 INS_ZeroPos 同一时刻完成。 */
void GO_OdomBaseReset(void)
{
    int i;

    for (i = 0; i < 4; i++) {
        s_prev_angle[i] = zdt_angle[s_wheel_axis[i]];
        s_rpm_lp[i]     = 0.0f;
    }
}

/* CAN1 RX0 中断分发（唯一 CAN 接收回调）：中断里只做搬运，解析在 6020.c（整数拷贝，不做浮点）；CAN1 上再挂设备按 StdId 分路。 */
void HAL_CAN_RxFifo0MsgPendingCallback(CAN_HandleTypeDef *hcan)
{
    Grab6020_CanRx(hcan);
}

/* 调度器启动前的底盘初始化（main.c 调用）：须在 osKernelInitialize 之后、osKernelStart 之前，让调度器一跑起来就能动；内容 INS/Go/PID 清零 + GRAB(CAN/舵机) + M27 + See(USART3)。 */
void Motion_PreInit(void)
{
    INS_Init(&s_ins);
    GO_Init(&s_ins);         /* 绑定位姿 */
    GO_Stop();               /* 上电先冻住：第一次下发目标前四轮不出力 */
    PID_Init();

    GRAB_Init();             /* CAN1 滤波器必须在 HAL_CAN_Start 之前配好 */
    /* 伸缩/升降：只清状态；0cm 基准等 MotorC 首次读到 0x36 时才取（那时才有角度） */
    M27_Init();
    /* 摄像头/扫码：建信号量 + 启动 USART3（PD8/PD9）单字节接收（越早越好，别丢头几帧） */
    See_Init();
    /* 路径规划：按左/右出发把 52 个点宏拆进 x[]/y[]（不调它 x/y 全是 0）
     * 出发边由上面的 follow_side_key 决定（Follow_SetSide = 设值 + 重拆表）*/
    Follow_SetSide((uint8_t)follow_side_key);
}

/* USER CODE END Application */
